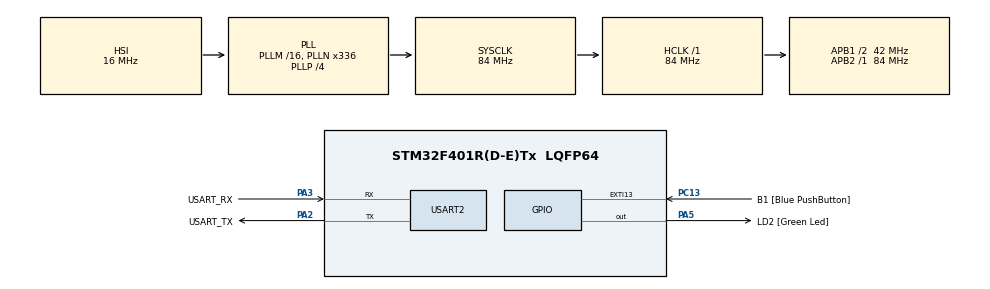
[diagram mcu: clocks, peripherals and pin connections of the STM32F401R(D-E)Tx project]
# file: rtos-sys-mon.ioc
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FREERTOS.Tasks01=defaultTask,24,128,StartDefaultTask,Default,NULL,Dynamic,NULL,NULL
Mcu.Family=STM32F4
Mcu.Name=STM32F401R(D-E)Tx
Mcu.Package=LQFP64
NVIC.PriorityGroup=NVIC_PRIORITYGROUP_4
NVIC.RTC_WKUP_IRQn=true\:5\:0\:false\:false\:true\:true\:true\:true\:true
NVIC.TIM2_IRQn=true\:15\:0\:false\:false\:true\:false\:false\:true\:true
NVIC.TimeBase=TIM2_IRQn
NVIC.TimeBaseIP=TIM2
NVIC.USART2_IRQn=true\:5\:0\:false\:false\:true\:true\:true\:true\:true
PA13.GPIO_Label=TMS
PA13.Mode=Trace_Asynchronous_SW
PA13.Signal=SYS_JTMS-SWDIO
PA14.GPIO_Label=TCK
PA14.Mode=Trace_Asynchronous_SW
PA14.Signal=SYS_JTCK-SWCLK
PA2.GPIO_Label=USART_TX
PA2.GPIO_Mode=GPIO_MODE_AF_PP
PA2.GPIO_PuPd=GPIO_NOPULL
PA2.GPIO_Speed=GPIO_SPEED_FREQ_LOW
PA2.Mode=Asynchronous
PA2.Signal=USART2_TX
PA3.GPIO_Label=USART_RX
PA3.GPIO_Mode=GPIO_MODE_AF_PP
PA3.GPIO_PuPd=GPIO_NOPULL
PA3.GPIO_Speed=GPIO_SPEED_FREQ_LOW
PA3.Mode=Asynchronous
PA3.Signal=USART2_RX
PA5.GPIO_Label=LD2 [Green Led]
PA5.GPIO_Mode=GPIO_MODE_OUTPUT_PP
PA5.GPIO_PuPd=GPIO_NOPULL
PA5.GPIO_Speed=GPIO_SPEED_FREQ_LOW
PA5.Signal=GPIO_Output
PB3.GPIO_Label=SWO
PB3.Mode=Trace_Asynchronous_SW
PB3.Signal=SYS_JTDO-SWO
PC13-ANTI_TAMP.GPIO_Label=B1 [Blue PushButton]
PC13-ANTI_TAMP.GPIO_ModeDefaultEXTI=GPIO_MODE_IT_FALLING
PC13-ANTI_TAMP.GPIO_PuPd=GPIO_NOPULL
PC13-ANTI_TAMP.Signal=GPXTI13
PC14-OSC32_IN.Mode=LSE-External-Oscillator
PC14-OSC32_IN.Signal=RCC_OSC32_IN
PC15-OSC32_OUT.Mode=LSE-External-Oscillator
PC15-OSC32_OUT.Signal=RCC_OSC32_OUT
PH0\ -\ OSC_IN.Mode=HSE-External-Clock-Source
PH0\ -\ OSC_IN.Signal=RCC_OSC_IN
PH1\ -\ OSC_OUT.Mode=HSE-External-Clock-Source
PH1\ -\ OSC_OUT.Signal=RCC_OSC_OUT
ProjectManager.HeapSize=0x200
ProjectManager.StackSize=0x400
ProjectManager.TargetToolchain=STM32CubeIDE
RCC.48MHZClocksFreq_Value=48000000
RCC.AHBFreq_Value=84000000
RCC.APB1CLKDivider=RCC_HCLK_DIV2
RCC.APB1Freq_Value=42000000
RCC.APB1TimFreq_Value=84000000
RCC.APB2Freq_Value=84000000
RCC.APB2TimFreq_Value=84000000
RCC.CortexFreq_Value=84000000
RCC.HCLKFreq_Value=84000000
RCC.HSE_VALUE=8000000
RCC.HSI_VALUE=16000000
RCC.PLLN=336
RCC.PLLP=RCC_PLLP_DIV4
RCC.PLLQ=7
RCC.SYSCLKFreq_VALUE=84000000
RCC.SYSCLKSource=RCC_SYSCLKSOURCE_PLLCLK
RCC.VCOOutputFreq_Value=336000000
USART2.VirtualMode=VM_ASYNC
VP_FREERTOS_VS_CMSIS_V2.Mode=CMSIS_V2
VP_RTC_VS_RTC_Activate.Mode=RTC_Enabled
VP_RTC_VS_RTC_WakeUp_intern.Mode=WakeUp
VP_SYS_VS_tim2.Mode=TIM2
board=NUCLEO-F401RE

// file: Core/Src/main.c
/* USER CODE BEGIN Header */
/**
  ******************************************************************************
  * @file           : main.c
  * @brief          : Main program body
  ******************************************************************************
  * @attention
  *
  * Copyright (c) 2025 STMicroelectronics.
  * All rights reserved.
  *
  * This software is licensed under terms that can be found in the LICENSE file
  * in the root directory of this software component.
  * If no LICENSE file comes with this software, it is provided AS-IS.
  *
  ******************************************************************************
  */
/* USER CODE END Header */
#include "main.h"
#include "cmsis_os.h"
#include "rtc.h"
#include "usart.h"
#include "gpio.h"

void SystemClock_Config(void);
void MX_FREERTOS_Init(void);

int main(void)
{

  /* MCU Configuration--------------------------------------------------------*/

  /* Reset of all peripherals, Initializes the Flash interface and the Systick. */
  HAL_Init();

  /* Configure the system clock */
  SystemClock_Config();

  /* Initialize all configured peripherals */
  MX_GPIO_Init();
  MX_USART2_UART_Init();
  MX_RTC_Init();

  /* Init scheduler */
  osKernelInitialize();

  /* Call init function for freertos objects (in cmsis_os2.c) */
  MX_FREERTOS_Init();

  /* Start scheduler */
  osKernelStart();

  /* We should never get here as control is now taken by the scheduler */

  /* Infinite loop */
  while (1)
  {

  }
}

void SystemClock_Config(void)
{
  RCC_OscInitTypeDef RCC_OscInitStruct = {0};
  RCC_ClkInitTypeDef RCC_ClkInitStruct = {0};

  /** Configure the main internal regulator output voltage
  */
  __HAL_RCC_PWR_CLK_ENABLE();
  __HAL_PWR_VOLTAGESCALING_CONFIG(PWR_REGULATOR_VOLTAGE_SCALE2);

  /** Initializes the RCC Oscillators according to the specified parameters
  * in the RCC_OscInitTypeDef structure.
  */
  RCC_OscInitStruct.OscillatorType = RCC_OSCILLATORTYPE_HSI|RCC_OSCILLATORTYPE_LSI;
  RCC_OscInitStruct.HSIState = RCC_HSI_ON;
  RCC_OscInitStruct.HSICalibrationValue = RCC_HSICALIBRATION_DEFAULT;
  RCC_OscInitStruct.LSIState = RCC_LSI_ON;
  RCC_OscInitStruct.PLL.PLLState = RCC_PLL_ON;
  RCC_OscInitStruct.PLL.PLLSource = RCC_PLLSOURCE_HSI;
  RCC_OscInitStruct.PLL.PLLM = 16;
  RCC_OscInitStruct.PLL.PLLN = 336;
  RCC_OscInitStruct.PLL.PLLP = RCC_PLLP_DIV4;
  RCC_OscInitStruct.PLL.PLLQ = 7;
  if (HAL_RCC_OscConfig(&RCC_OscInitStruct) != HAL_OK)
  {
    Error_Handler();
  }

  /** Initializes the CPU, AHB and APB buses clocks
  */
  RCC_ClkInitStruct.ClockType = RCC_CLOCKTYPE_HCLK|RCC_CLOCKTYPE_SYSCLK
                              |RCC_CLOCKTYPE_PCLK1|RCC_CLOCKTYPE_PCLK2;
  RCC_ClkInitStruct.SYSCLKSource = RCC_SYSCLKSOURCE_PLLCLK;
  RCC_ClkInitStruct.AHBCLKDivider = RCC_SYSCLK_DIV1;
  RCC_ClkInitStruct.APB1CLKDivider = RCC_HCLK_DIV2;
  RCC_ClkInitStruct.APB2CLKDivider = RCC_HCLK_DIV1;

  if (HAL_RCC_ClockConfig(&RCC_ClkInitStruct, FLASH_LATENCY_2) != HAL_OK)
  {
    Error_Handler();
  }
}

void HAL_TIM_PeriodElapsedCallback(TIM_HandleTypeDef *htim)
{
  if (htim->Instance == TIM2)
  {
    HAL_IncTick();
  }
}

void Error_Handler(void)
{
  __disable_irq();
  while (1)
  {
  }
}

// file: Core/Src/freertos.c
/* USER CODE BEGIN Header */
/**
  ******************************************************************************
  * File Name          : freertos.c
  * Description        : Code for freertos applications
  ******************************************************************************
  * @attention
  *
  * Copyright (c) 2025 STMicroelectronics.
  * All rights reserved.
  *
  * This software is licensed under terms that can be found in the LICENSE file
  * in the root directory of this software component.
  * If no LICENSE file comes with this software, it is provided AS-IS.
  *
  ******************************************************************************
  */
/* USER CODE END Header */

#include "FreeRTOS.h"
#include "task.h"
#include "main.h"
#include "cmsis_os.h"

/* USER CODE BEGIN Includes */
#include "task_utils.h"
#include "cli_core.h"
#include "cli_cmd.h"
#include "cli_uart.h"
#include "usart.h"
#include <string.h>
/* USER CODE END Includes */

/* USER CODE BEGIN Variables */
volatile uint8_t rx_data;

/* USER CODE END Variables */
/* Definitions for defaultTask */
osThreadId_t defaultTaskHandle;
const osThreadAttr_t defaultTask_attributes = {
  .name = "defaultTask",
  .stack_size = 128 * 4,
  .priority = (osPriority_t) osPriorityLow,
};

/* USER CODE BEGIN FunctionPrototypes */
void HeartBeatTask(void *argument);
void CliTask(void *argument);

osThreadId_t HeartBeatTaskHandle;
osThreadId_t CliTaskHandle;

const osThreadAttr_t HeartBeatTask_attributes = {
  .name = "HeartBeatTask",
  .stack_size = 128 * 4,
  .priority = (osPriority_t) osPriorityLow,
};

const osThreadAttr_t CliTask_attributes = {
  .name = "CliTask",
  .stack_size = 256 * 4,
  .priority = (osPriority_t) osPriorityNormal,
};

/* USER CODE END FunctionPrototypes */

void StartDefaultTask(void *argument);

void MX_FREERTOS_Init(void); /* (MISRA C 2004 rule 8.1) */

void MX_FREERTOS_Init(void) {
  /* USER CODE BEGIN Init */
  if(!CLI_Core_Init(&huart2)) CLI_Core_ErrorHandle("Initial UART fail");

  /* USER CODE END Init */

  /* Create the thread(s) */
  /* creation of defaultTask */
  //defaultTaskHandle = osThreadNew(StartDefaultTask, NULL, &defaultTask_attributes);

  /* USER CODE BEGIN RTOS_THREADS */
  /* add threads, ... */
  HeartBeatTaskHandle = osThreadNew(HeartBeatTask, NULL, &HeartBeatTask_attributes);
  CliTaskHandle = osThreadNew(CliTask, NULL, &CliTask_attributes);

  /* USER CODE END RTOS_THREADS */

}

void StartDefaultTask(void *argument)
{
  for(;;)
  {
    osDelay(1);
  }
}

/* USER CODE BEGIN Application */

void HeartBeatTask(void *argument)
{
  /* USER CODE BEGIN HeartBeatTask */
  /* Infinite loop */
  for(;;)
  {
	HAL_GPIO_TogglePin(LD2_GPIO_Port, LD2_Pin);
    osDelay(1000);
  }
  /* USER CODE END HeartBeatTask */
}

void CliTask(void *argument)
{
   CLI_FLAG_HANDLE cli_flag;
   uint8_t cmd_buf[CLI_LINE_BUF_SIZE];
   if(!CLI_UART_Get_CLI_Flag(&cli_flag))CLI_Core_ErrorHandle("Create CLI Flag fail");

  for(;;)
  {
    osEventFlagsWait(cli_flag.cli_event_obj, cli_flag.cli_flag_line_ready, osFlagsWaitAny,osWaitForever);
    if (CLI_Core_GetLine((uint8_t*)cmd_buf, sizeof(cmd_buf)))
      {
    	CLI_Core_ProcessCommand((char*)&cmd_buf);
      }

  }
}

/* USER CODE END Application */
